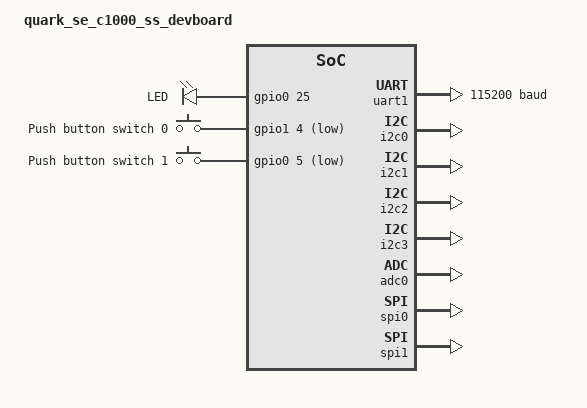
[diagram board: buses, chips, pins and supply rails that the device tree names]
/* SPDX-License-Identifier: Apache-2.0 */

/dts-v1/;

#include <mem.h>

#define DT_FLASH_SIZE		DT_SIZE_K(152)
#define DT_SRAM_SIZE		DT_SIZE_K(24)
#define DT_DCCM_SIZE		DT_SIZE_K(8)

#define DT_FLASH_ADDR		0x40000000

#include "quark_se_c1000_ss.dtsi"

/ {
	model = "quark_se_c1000_ss_devboard";
	compatible = "intel,quark_se_c1000_ss_devboard", "intel,quark_se_c1000";

	aliases {
		led0 = &led0;
		sw0 = &button0;
		sw1 = &button1;
		uart-0 = &uart0;
		uart-1 = &uart1;
	};

	chosen {
		zephyr,sram = &sram0;
		zephyr,flash = &flash0;
		zephyr,console = &uart1;
		zephyr,shell-uart = &uart1;
	};

	leds {
		compatible = "gpio-leds";
		led0: led_0 {
			gpios = <&gpio0 25 0>;
			label = "LED";
		};
	};

	buttons {
		/* Push button switch 0 KEY1 */
		compatible = "gpio-keys";
		button0: button_0 {
			/* gpio flags need validation */
			gpios = <&gpio1 4 GPIO_INT_ACTIVE_LOW>;
			label = "Push button switch 0";
		};
		button1: button_1 {
			/* gpio flags need validation */
			gpios = <&gpio0 5 GPIO_INT_ACTIVE_LOW>;
			label = "Push button switch 1";
		};
	};

};

&uart1 {
	status = "ok";
	current-speed = <115200>;
};

&i2c0 {
	status = "ok";
};

&i2c1 {
	status = "ok";
};

&i2c2 {
	status = "ok";
};

&i2c3 {
	status = "ok";
};

&adc0 {
	status = "ok";
};

&spi0 {
	status = "ok";
};

&spi1 {
	status = "ok";
};
